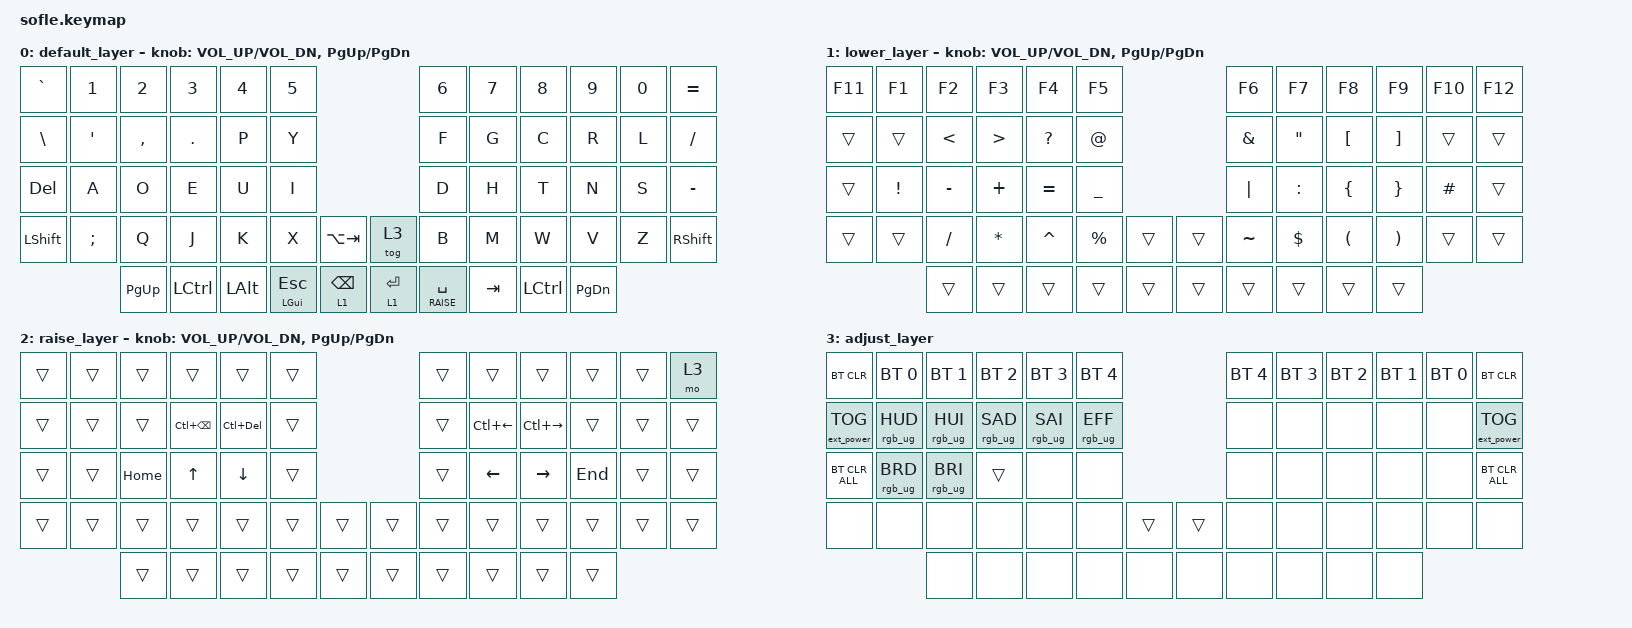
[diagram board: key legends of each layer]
/*
 * Copyright (c) 2020 The ZMK Contributors
 *
 * SPDX-License-Identifier: MIT
 */

#include <behaviors.dtsi>
#include <dt-bindings/zmk/bt.h>
#include <dt-bindings/zmk/ext_power.h>
#include <dt-bindings/zmk/keys.h>
#include <dt-bindings/zmk/rgb.h>

#define BASE 0
#define LOWER 1
#define RAISE 2
#define ADJUST 3

&mt { flavor = "tap-preferred"; };

/ {
    // Activate ADJUST layer by pressing raise and lower

    conditional_layers {
        compatible = "zmk,conditional-layers";

        adjust_layer {
            if-layers = <LOWER RAISE>;
            then-layer = <ADJUST>;
        };
    };

    keymap {
        compatible = "zmk,keymap";

        default_layer {
            // ------------------------------------------------------------------------------------------------------------
            // |   `   |  1  |  2  |  3   |  4   |  5   |                   |  6   |  7    |  8    |  9   |   0   |       |
            // |  ESC  |  Q  |  W  |  E   |  R   |  T   |                   |  Y   |  U    |  I    |  O   |   P   | BKSPC |
            // |  TAB  |  A  |  S  |  D   |  F   |  G   |                   |  H   |  J    |  K    |  L   |   ;   |   '   |
            // | SHIFT |  Z  |  X  |  C   |  V   |  B   |  MUTE  |  |       |  N   |  M    |  ,    |  .   |   /   | SHIFT |
            //               | GUI | ALT  | CTRL | LOWER|  ENTER |  | SPACE | RAISE| CTRL  | ALT   | GUI  |

            bindings = <
&kp GRAVE      &kp N1         &kp N2       &kp N3            &kp N4        &kp N5                                               &kp N6           &kp N7   &kp N8            &kp N9         &kp N0  &kp EQUAL
&kp BACKSLASH  &kp SQT        &kp COMMA    &kp PERIOD        &kp P         &kp Y                                                &kp F            &kp G    &kp C             &kp R          &kp L   &kp SLASH
&kp DELETE     &kp A          &kp O        &kp E             &kp U         &kp I                                                &kp D            &kp H    &kp T             &kp N          &kp S   &kp MINUS
&kp LSHFT      &kp SEMICOLON  &kp Q        &kp J             &kp K         &kp X                &kp LA(TAB)        &tog 3       &kp B            &kp M    &kp W             &kp V          &kp Z   &kp RSHFT
                              &kp PAGE_UP  &kp LEFT_CONTROL  &kp LEFT_ALT  &mt LEFT_GUI ESCAPE  &lt 1 BACKSPACE    &lt 1 ENTER  &lt RAISE SPACE  &kp TAB  &kp LEFT_CONTROL  &kp PAGE_DOWN
            >;

            sensor-bindings = <&inc_dec_kp C_VOL_UP C_VOL_DN &inc_dec_kp PG_UP PG_DN>;
        };

        lower_layer {
            // TODO: Some binds are waiting for shifted keycode support.
            // ------------------------------------------------------------------------------------------------------------
            // |       |  F1 |  F2 |  F3  |  F4  |  F5  |                   |  F6  |  F7   |  F8   |  F9  |  F10  |  F11  |
            // |   `   |  1  |  2  |  3   |  4   |  5   |                   |  6   |  7    |  8    |  9   |   0   |  F12  |
            // |       |  !  |  @  |  #   |  $   |  %   |                   |  ^   |  &    |  *    |  (   |   )   |   |   |
            // |       |  =  |  -  |  +   |  {   |  }   |        |  |       |  [   |  ]    |  ;    |  :   |   \   |       |
            //               |     |      |      |      |        |  |       |      |       |       |      |

            bindings = <
&kp F11  &kp F1    &kp F2         &kp F3            &kp F4        &kp F5                         &kp F6     &kp F7             &kp F8                &kp F9                 &kp F10   &kp F12
&trans   &trans    &kp LESS_THAN  &kp GREATER_THAN  &kp QUESTION  &kp AT                         &kp AMPS   &kp DOUBLE_QUOTES  &kp LEFT_BRACKET      &kp RIGHT_BRACKET      &trans    &trans
&trans   &kp EXCL  &kp MINUS      &kp PLUS          &kp EQUAL     &kp UNDER                      &kp PIPE   &kp COLON          &kp LEFT_BRACE        &kp RIGHT_BRACE        &kp HASH  &trans
&trans   &trans    &kp SLASH      &kp STAR          &kp CARET     &kp PERCENT  &trans    &trans  &kp TILDE  &kp DOLLAR         &kp LEFT_PARENTHESIS  &kp RIGHT_PARENTHESIS  &trans    &trans
                   &trans         &trans            &trans        &trans       &trans    &trans  &trans     &trans             &trans                &trans
            >;

            sensor-bindings = <&inc_dec_kp C_VOL_UP C_VOL_DN &inc_dec_kp PG_UP PG_DN>;
        };

        raise_layer {
            // ------------------------------------------------------------------------------------------------------------
            // | BTCLR | BT1  | BT2  |  BT3  |  BT4  |  BT5 |                |      |      |       |      |       |       |
            // |       | INS  | PSCR | GUI   |       |      |                | PGUP |      |   ^   |      |       |       |
            // |       | ALT  | CTRL | SHIFT |       | CAPS |                | PGDN |   <- |   v   |  ->  |  DEL  | BKSPC |
            // |       | UNDO | CUT  | COPY  | PASTE |      |      |  |      |      |      |       |      |       |       |
            //                |      |       |       |      |      |  |      |      |      |       |      |

            bindings = <
&trans  &trans  &trans    &trans             &trans          &trans                    &trans  &trans        &trans         &trans   &trans  &mo 3
&trans  &trans  &trans    &kp LC(BACKSPACE)  &kp LC(DELETE)  &trans                    &trans  &kp LC(LEFT)  &kp LC(RIGHT)  &trans   &trans  &trans
&trans  &trans  &kp HOME  &kp UP_ARROW       &kp DOWN        &trans                    &trans  &kp LEFT      &kp RIGHT      &kp END  &trans  &trans
&trans  &trans  &trans    &trans             &trans          &trans  &trans    &trans  &trans  &trans        &trans         &trans   &trans  &trans
                &trans    &trans             &trans          &trans  &trans    &trans  &trans  &trans        &trans         &trans
            >;

            sensor-bindings = <&inc_dec_kp C_VOL_UP C_VOL_DN &inc_dec_kp PG_UP PG_DN>;
        };

        adjust_layer {
            // ----------------------------------------------------------------------------------------------------------------------------
            // | BTCLR  |  BT1    |  BT2    |   BT3   |   BT4   |   BT5   |                  |      |      |       |      |       |       |
            // | EXTPWR | RGB_HUD | RGB_HUI | RGB_SAD | RGB_SAI | RGB_EFF |                  |      |      |       |      |       |       |
            // |        | RGB_BRD | RGB_BRI |         |         |         |                  |      |      |       |      |       |       |
            // |        |         |         |         |         |         | RGB_TOG | |      |      |      |       |      |       |       |
            //                    |         |         |         |         |         | |      |      |      |       |      |

            bindings = <
&bt BT_CLR         &bt BT_SEL 0     &bt BT_SEL 1     &bt BT_SEL 2     &bt BT_SEL 3     &bt BT_SEL 4                       &bt BT_SEL 4  &bt BT_SEL 3  &bt BT_SEL 2  &bt BT_SEL 1  &bt BT_SEL 0  &bt BT_CLR
&ext_power EP_TOG  &rgb_ug RGB_HUD  &rgb_ug RGB_HUI  &rgb_ug RGB_SAD  &rgb_ug RGB_SAI  &rgb_ug RGB_EFF                    &none         &none         &none         &none         &none         &ext_power EP_TOG
&bt BT_CLR_ALL     &rgb_ug RGB_BRD  &rgb_ug RGB_BRI  &trans           &none            &none                              &none         &none         &none         &none         &none         &bt BT_CLR_ALL
&none              &none            &none            &none            &none            &none            &trans    &trans  &none         &none         &none         &none         &none         &none
                                    &none            &none            &none            &none            &none     &none   &none         &none         &none         &none
            >;
        };

        extra1 { status = "reserved"; };

        extra2 { status = "reserved"; };

        extra3 { status = "reserved"; };

        extra4 { status = "reserved"; };
    };
};
